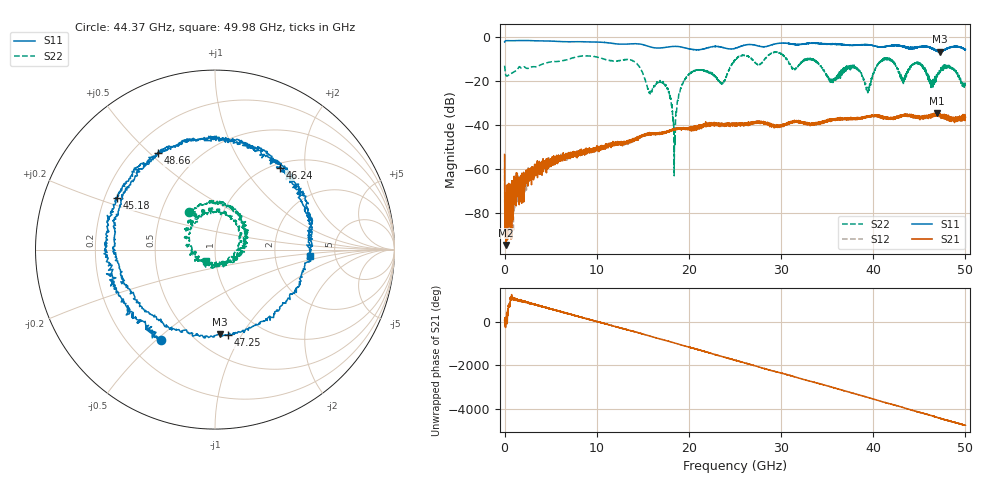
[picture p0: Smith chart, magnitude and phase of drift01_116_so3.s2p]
!Created with skrf (http://scikit-rf.org).
# Hz S RI R 50.0
!freq ReS11 ImS11 ReS21 ImS21 ReS12 ImS12 ReS22 ImS22
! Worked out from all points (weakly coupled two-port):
!   10001 points, 300 kHz to 50 GHz, reference 50 ohm
!   highest |S21| = -34.48 dB at 46.92 GHz (marker M1); lowest = -94.5 dB at 135.3 MHz (marker M2)
!   lowest |S11| = -6.5 dB at 47.28 GHz (marker M3), VSWR 2.78, Z = 33.3 - j40.3 ohm
!   |S11| at or under -10 dB: nowhere
!   |S22| runs from -62.9 to -6.6 dB; largest |S21 - S12| = 0.0037
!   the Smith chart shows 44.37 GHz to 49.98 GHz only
!   S11 on the Smith chart (normalised r, x): 44.37 GHz: 0.34, -0.52; 45.18 GHz: 0.25, +0.23; 46.24 GHz: 1.07, +1.49; 47.25 GHz: 0.70, -0.88; 48.66 GHz: 0.30, +0.53; 49.98 GHz: 3.22, -0.31
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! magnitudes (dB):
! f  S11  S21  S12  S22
! 300 kHz  -2.1  -53.2  -59.0  -12.9
! 135.3 MHz  -1.5  -94.5  -76.4  -17.2
! 8.335 GHz  -1.9  -51.7  -52.9  -8.5
! 16.67 GHz  -4.8  -43.7  -43.5  -20.0
! 17.74 GHz  -4.3  -42.8  -42.7  -24.2
! 18.45 GHz  -4.1  -41.4  -41.7  -46.2
! 19.95 GHz  -5.1  -41.5  -41.3  -17.1
! 23.61 GHz  -4.5  -39.4  -40.0  -20.8
! 25 GHz  -5.0  -39.6  -39.9  -10.3
! 33.34 GHz  -2.6  -39.3  -39.4  -9.9
! 39.44 GHz  -3.4  -35.9  -35.9  -24.1
! 41.67 GHz  -3.9  -37.1  -36.8  -9.8
! 43.19 GHz  -4.0  -35.4  -35.6  -19.1
! 44.37 GHz  -4.6  -35.9  -35.9  -11.9
! 45.18 GHz  -4.2  -36.0  -36.4  -12.4
! 46.24 GHz  -4.7  -36.1  -35.7  -20.7
! 46.92 GHz  -6.0  -34.5  -35.2  -18.2
! 47.25 GHz  -6.3  -34.8  -35.2  -15.5
! 47.28 GHz  -6.5  -35.0  -35.3  -15.5
! 48.66 GHz  -4.1  -36.5  -36.9  -14.0
! 49.98 GHz  -5.5  -36.2  -36.1  -21.8
! 50 GHz  -5.5  -36.3  -36.7  -21.6
